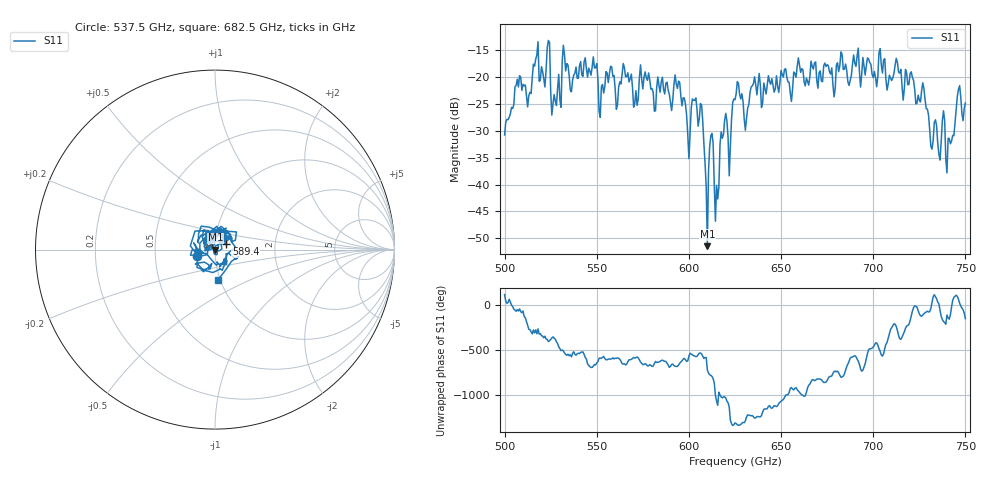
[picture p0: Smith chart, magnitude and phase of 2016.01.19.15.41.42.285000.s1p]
!Created with skrf (http://scikit-rf.org).
# GHz S RI R 50.0
!freq ReS11 ImS11
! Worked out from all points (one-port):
!   401 points, 500 GHz to 750 GHz, reference 50 ohm
!   lowest |S11| = -51.5 dB at 610 GHz (marker M1), VSWR 1.01, Z = 50.3 - j0.0183 ohm
!   |S11| at or under -10 dB: start of sweep to end of sweep
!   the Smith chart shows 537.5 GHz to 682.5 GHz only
!   S11 on the Smith chart (normalised r, x): 537.5 GHz: 0.82, -0.06; 589.4 GHz: 1.13, +0.07; 682.5 GHz: 0.97, -0.34
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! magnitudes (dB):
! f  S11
! 500 GHz  -30.8
! 507.5 GHz  -21.8
! 513.1 GHz  -23.4
! 516.9 GHz  -16.6
! 523.8 GHz  -13.1
! 526.9 GHz  -23.2
! 531.2 GHz  -17.1
! 537.5 GHz  -19.6
! 562.5 GHz  -20.9
! 589.4 GHz  -23.2
! 593.8 GHz  -22.1
! 599.4 GHz  -30.6
! 602.5 GHz  -24.3
! 606.9 GHz  -25.2
! 610 GHz  -51.5
! 611.9 GHz  -30.9
! 615 GHz  -40.1
! 618.1 GHz  -31.4
! 621.9 GHz  -38.4
! 625 GHz  -24.2
! 631.2 GHz  -27.7
! 656.2 GHz  -22.1
! 682.5 GHz  -15.3
! 687.5 GHz  -20.6
! 718.8 GHz  -21.4
! 740.6 GHz  -31.4
! 746.2 GHz  -22.2
! 750 GHz  -24.8
